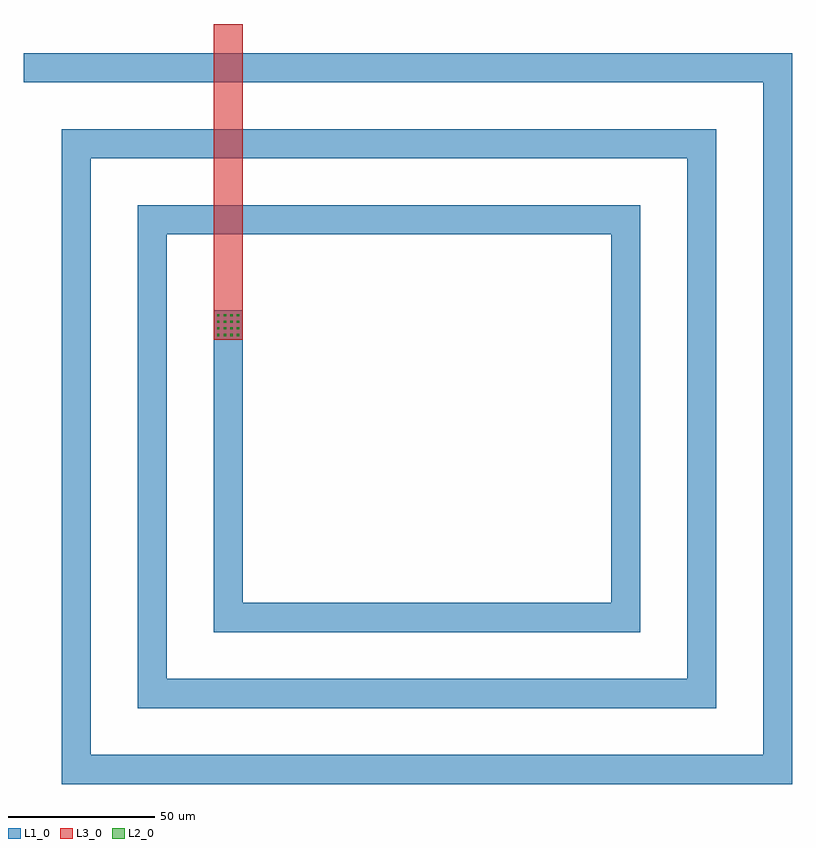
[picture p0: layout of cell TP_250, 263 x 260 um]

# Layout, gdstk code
import gdstk
lib = gdstk.Library(unit=1e-6, precision=1e-09)
def R(c, l, rs):  # rectangles x0, y0, x1, y1
    for r in rs: c.add(gdstk.rectangle(r[:2], r[2:], *l))
def A(c, l, x, y, w, h, nx, ny, dx, dy):  # array of equal rectangles
    R(c, l, [(x+i*dx, y+j*dy, x+i*dx+w, y+j*dy+h) for i in range(nx) for j in range(ny)])
def P(c, l, *ps):  # polygons
    for p in ps: c.add(gdstk.Polygon(p, *l))
L1_0 = (1, 0)
L2_0 = (2, 0)
L3_0 = (3, 0)

tp_250 = lib.new_cell('TP_250')
R(tp_250, L1_0, [(165,275,175,285)])
P(tp_250, L1_0, [(100,363),(100,373),(363,373),(353,363)],
  [(363,123),(353,133),(353,363),(363,373)],
  [(113,123),(123,133),(353,133),(363,123)],
  [(113,123),(113,347),(123,337),(123,133)],
  [(123,337),(113,347),(337,347),(327,337)],
  [(337,149),(327,159),(327,337),(337,347)],
  [(139,149),(149,159),(327,159),(337,149)],
  [(139,149),(139,321),(149,311),(149,159)],
  [(149,311),(139,321),(311,321),(301,311)],
  [(311,175),(301,185),(301,311),(311,321)],
  [(165,175),(175,185),(301,185),(311,175)],
  [(165,175),(165,285),(175,285),(175,185)])
A(tp_250, L2_0, 166.25, 276.25, 0.75, 0.75, 4, 4, 2.25, 2.25)
R(tp_250, L3_0, [(165,275,175,383), (165,275,175,285)])

lib.write_gds('TP_250.gds')
